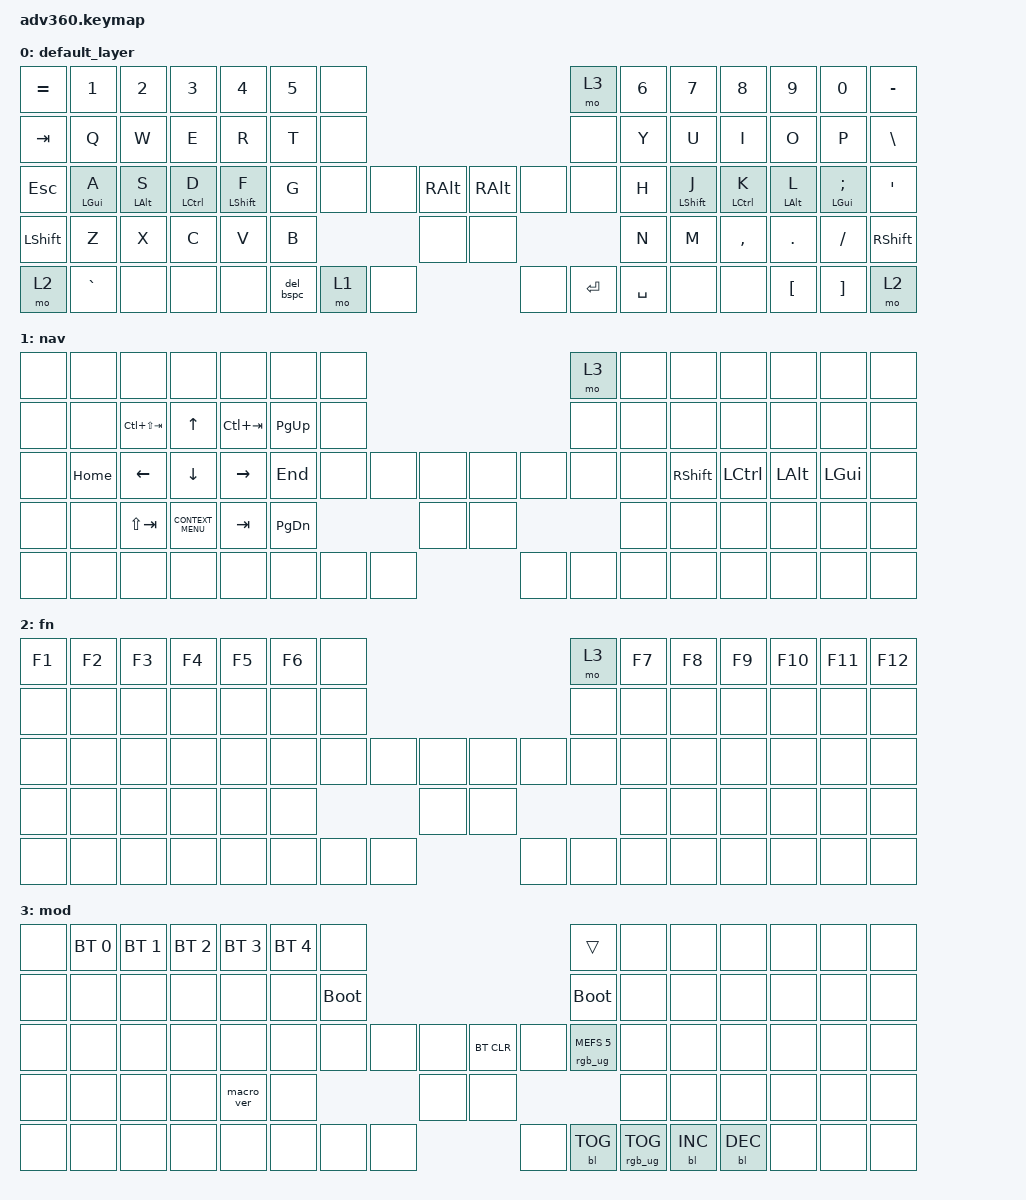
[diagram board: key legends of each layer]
#include <behaviors.dtsi>
#include <dt-bindings/zmk/keys.h>
#include <dt-bindings/zmk/bt.h>
#include <dt-bindings/zmk/rgb.h>
#include <dt-bindings/zmk/backlight.h>

/*
 See key-positions.md
*/

#define KEYS_L   0  1  2  3  4  5  6 \
                14 15 16 17 18 19 20 \
                28 29 30 31 32 33 34 \
                46 47 48 49 50 51    \
                60 61 62 63 64

#define THUMBS_LEFT     35 36 \
                           52 \
                     65 66 67 \

#define KEYS_R   7  8  9 10 11 12 13 \
                21 22 23 24 25 26 27 \
                39 40 41 42 43 44 45 \
                   54 55 56 57 58 59 \
                      71 72 73 74 75

#define THUMBS_RIGHT 37 38    \
                     53       \
                     68 69 70

/ {
  combos {
    compatible = "zmk,combos";
    combo_super {
      timeout-ms = <50>;
      key-positions = <16 17 18>;
      bindings = <&kp LGUI>;
    };
  };

  behaviors {
    #include "macros.dtsi"
    #include "version.dtsi"
    #ifndef VERSION_MACRO
    macro_ver: macro_ver {
      compatible = "zmk,behavior-macro";
      label = "macro_version";
      #binding-cells = <0>;
      bindings = <&kp RET>;
    };
    #endif

    hml: left_homerow_mods {
      compatible = "zmk,behavior-hold-tap";
      flavor = "balanced";
      #binding-cells = <2>;
      label = "LEFT_HOMEROW_MODS";
      tapping-term-ms = <280>;
      quick-tap-ms = <175>;
      require-prior-idle-ms = <150>;
      bindings = <&kp>, <&kp>;
      hold-trigger-key-positions = <KEYS_R THUMBS_RIGHT THUMBS_LEFT>;
      hold-trigger-on-release;
    };

    hmr: right_homerow_mods {
      compatible = "zmk,behavior-hold-tap";
      flavor = "balanced";
      #binding-cells = <2>;
      label = "RIGHT_HOMEROW_MODS";
      tapping-term-ms = <280>;
      quick-tap-ms = <175>;
      require-prior-idle-ms = <150>;
      bindings = <&kp>, <&kp>;
      hold-trigger-key-positions = <KEYS_L THUMBS_RIGHT THUMBS_LEFT>;
      hold-trigger-on-release;
    };

    del_bspc: backspace_as_delete {
      compatible = "zmk,behavior-mod-morph";
      label = "BACKSPACE_AS_DELETE";
      #binding-cells = <0>;
      bindings = <&kp BSPC>, <&kp DEL>;
      mods = <(MOD_LSFT)>;
    };
  };

  keymap {
    compatible = "zmk,keymap";

    default_layer {
      bindings = <
        &kp EQUAL    &kp N1          &kp N2          &kp N3              &kp N4          &kp N5          &none                                                                                                                                         &mo 3                      &kp N6        &kp N7         &kp N8          &kp N9          &kp N0            &kp MINUS
        &kp TAB      &kp Q           &kp W           &kp E               &kp R           &kp T           &none                                                                                                                                         &none                      &kp Y         &kp U          &kp I           &kp O           &kp P             &kp BSLH
        &kp ESC      &hml LGUI A     &hml LALT S     &hml LCTRL D        &hml LSHFT F    &kp G           &none                               &none               &kp RALT                &kp RALT                    &none                             &none                      &kp H         &hmr LSHFT J   &hmr LCTRL K    &hmr LALT L     &hmr LGUI SEMI    &kp SQT
        &kp LSHFT    &kp Z           &kp X           &kp C               &kp V           &kp B                                                                   &none                   &none                                                                                    &kp N         &kp M          &kp COMMA       &kp DOT         &kp FSLH          &kp RSHFT
        &mo 2        &kp GRAVE       &none           &none               &none                                                   &del_bspc   &mo 1               &none                   &none                       &kp ENTER     &kp SPACE                                                    &none          &none           &kp LBKT        &kp RBKT          &mo 2
      >;
    };
    nav {
      bindings = <
        &none        &none           &none           &none               &none           &none           &none                                                                                                                                         &mo 3                      &none         &none          &none           &none           &none             &none
        &none        &none           &kp LC(LS(TAB)) &kp UP              &kp LC(TAB)     &kp PG_UP       &none                                                                                                                                         &none                      &none         &none          &none           &none           &none             &none
        &none        &kp HOME        &kp LEFT        &kp DOWN            &kp RIGHT       &kp END         &none                               &none               &none                   &none                       &none                             &none                      &none         &kp RSHFT      &kp LCTRL       &kp LALT        &kp LGUI          &none
        &none        &none           &kp LS(TAB)     &kp K_CONTEXT_MENU  &kp TAB         &kp PG_DN                                                               &none                   &none                                                                                    &none         &none          &none           &none           &none             &none
        &none        &none           &none           &none               &none                                                   &none       &none               &none                   &none                       &none         &none                                                        &none          &none           &none           &none             &none
      >;
    };
    fn {
      bindings = <
        &kp F1       &kp F2          &kp F3          &kp F4              &kp F5          &kp F6          &none                                                                                                                                         &mo 3                      &kp F7        &kp F8         &kp F9          &kp F10         &kp F11           &kp F12
        &none        &none           &none           &none               &none           &none           &none                                                                                                                                         &none                      &none         &none          &none           &none           &none             &none
        &none        &none           &none           &none               &none           &none           &none                               &none               &none                   &none                       &none                             &none                      &none         &none          &none           &none           &none             &none
        &none        &none           &none           &none               &none           &none                                                                   &none                   &none                                                                                    &none         &none          &none           &none           &none             &none
        &none        &none           &none           &none               &none                                                   &none       &none               &none                   &none                       &none         &none                                                        &none          &none           &none           &none             &none
      >;
    };
    mod {
      bindings = <
        &none        &bt BT_SEL 0    &bt BT_SEL 1    &bt BT_SEL 2        &bt BT_SEL 3    &bt BT_SEL 4    &none                                                                                                                                         &trans                     &none         &none          &none           &none           &none             &none
        &none        &none           &none           &none               &none           &none           &bootloader                                                                                                                                   &bootloader                &none         &none          &none           &none           &none             &none
        &none        &none           &none           &none               &none           &none           &none                               &none               &none                   &bt BT_CLR                  &none                             &rgb_ug RGB_MEFS_CMD 5     &none         &none          &none           &none           &none             &none
        &none        &none           &none           &none               &macro_ver      &none                                                                   &none                   &none                                                                                    &none         &none          &none           &none           &none             &none
        &none        &none           &none           &none               &none                                                   &none       &none               &none                   &none                       &bl BL_TOG    &rgb_ug RGB_TOG                                              &bl BL_INC     &bl BL_DEC      &none           &none             &none
      >;
    };
  };
};
